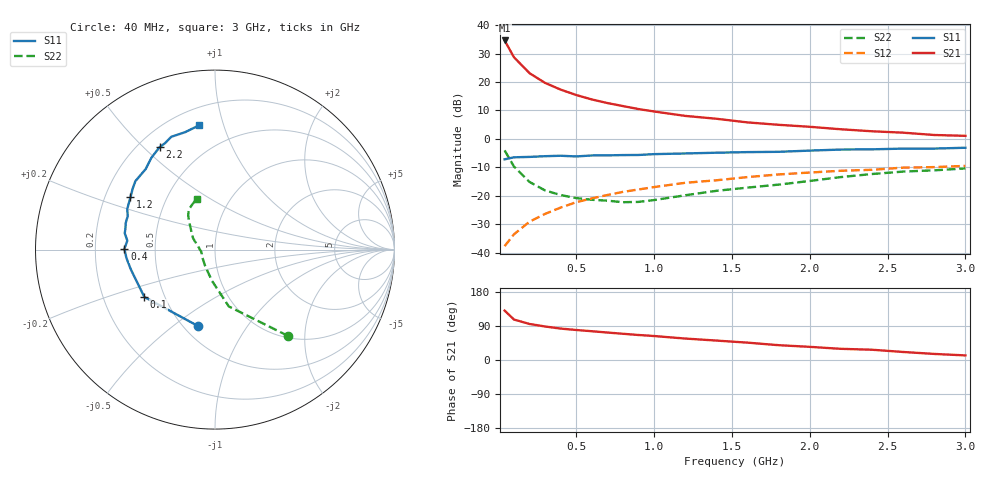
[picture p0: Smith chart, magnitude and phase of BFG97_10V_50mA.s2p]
! Filename:  BFG97G.S2P  Version:  2.0
! Philips part #: BFG97  Date: Jul 1990
! Bias condition: Vce=10V, Ic=50mA
#  MHz  S  MA  R  50
! Freq  S11  S21  S12  S22  !GUM [dB]
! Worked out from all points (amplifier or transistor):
!   21 points, 40 MHz to 3 GHz, reference 50 ohm
!   highest |S21| = 34.6 dB at 40 MHz (marker M1)
!   |S21| within 3 dB of that: start of sweep to 70.56 MHz
!   unconditionally stable (mu >= 1): 258.7 MHz to 2.994 GHz
!   at 300 MHz: K = 1.03, MAG = 22.0 dB, |S12| = -26.4 dB
!   at 1 GHz: K = 1.07, MAG = 11.6 dB, |S12| = -17.0 dB
!   at 3 GHz: K = 1.00, MSG = 5.3 dB, |S12| = -9.5 dB
!   S11 on the Smith chart (normalised r, x): 40 MHz: 0.59, -0.62; 100 MHz: 0.39, -0.26; 400 MHz: 0.33, +0.00; 1.2 GHz: 0.31, +0.26; 2.2 GHz: 0.28, +0.56; 3 GHz: 0.31, +0.83
40  0.437 -102.2  53.67 130.5  0.013 61.1  0.629 -49.8
100  0.474 -146.2  27.24 106.8  0.021 60.7  0.326 -76.3
200  0.482 -166.9  14.29 95.1  0.035 67.9  0.175 -95.5
300  0.496 -174.8  9.637 88.4  0.048 69.1  0.124 -110.5
400  0.505 179.5  7.339 82.9  0.062 69.9  0.103 -123.7
500  0.491 174.2  5.901 79.2  0.077 70.3  0.091 -133.9
600  0.511 169.7  4.931 75.9  0.09 69.9  0.085 -143.1
700  0.513 166.5  4.261 72.5  0.103 69.3  0.082 -152.8
800  0.519 163.6  3.772 69.2  0.117 67.9  0.077 -162.6
900  0.521 159.0  3.344 66.0  0.129 67.0  0.078 -172.4
1000  0.539 155.1  3.03 63.3  0.142 65.6  0.084 -179.9
1200  0.554 148.2  2.534 56.6  0.169 63.5  0.102 164.6
1400  0.571 143.4  2.259 51.3  0.187 60.3  0.122 157.5
1600  0.585 139.3  1.947 45.8  0.213 58.6  0.139 152.0
1800  0.592 130.7  1.767 39.1  0.237 53.9  0.157 145.6
2000  0.622 124.8  1.63 34.7  0.256 52.2  0.182 138.3
2200  0.649 118.4  1.474 29.5  0.275 49.4  0.213 132.7
2400  0.655 115.2  1.36 27.1  0.286 48.5  0.241 128.3
2600  0.674 111.2  1.285 21.2  0.312 44.2  0.266 123.5
2800  0.675 104.4  1.17 16.0  0.319 39.7  0.28 117.3
3000  0.698 97.2  1.13 12.1  0.335 38.1  0.302 109.8
